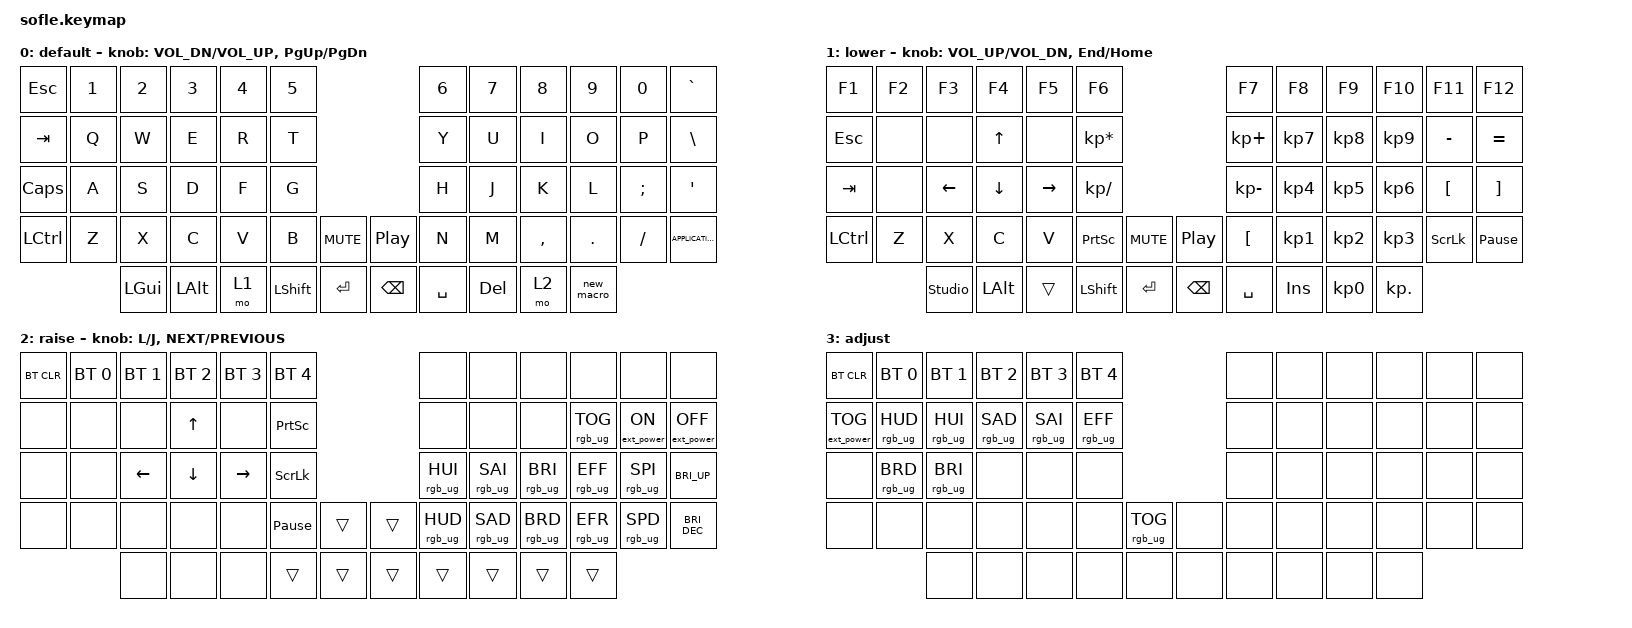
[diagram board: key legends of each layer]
/*
 * Copyright (c) 2020 The ZMK Contributors
 *
 * SPDX-License-Identifier: MIT
 */

#include <behaviors.dtsi>
#include <dt-bindings/zmk/bt.h>
#include <dt-bindings/zmk/ext_power.h>
#include <dt-bindings/zmk/keys.h>
#include <dt-bindings/zmk/rgb.h>

#define BASE 0
#define LOWER 1
#define RAISE 2
#define ADJUST 3

/ {
    // Activate ADJUST layer by pressing raise and lower

    conditional_layers {
        compatible = "zmk,conditional-layers";

        adjust_layer {
            if-layers = <LOWER RAISE>;
            then-layer = <ADJUST>;
        };
    };

    macros {
        new_macro: new_macro {
            compatible = "zmk,behavior-macro";
            #binding-cells = <0>;
            bindings = <&none &kp N1 &kp N9 &kp N9 &kp N5 &kp LS(T) &kp I &kp E &kp N &kp LS(V) &kp A &kp N &kp G &kp GT &kp GT &kp LT &kp LT>;
            label = "NEW_MACRO";
        };
    };

    keymap {
        compatible = "zmk,keymap";

        default_layer {
            display-name = "default";

            // ------------------------------------------------------------------------------------------------------------
            // |   `   |  1  |  2  |  3   |  4   |  5   |                   |  6   |  7    |  8    |  9   |   0   |       |
            // |  ESC  |  Q  |  W  |  E   |  R   |  T   |                   |  Y   |  U    |  I    |  O   |   P   | BKSPC |
            // |  TAB  |  A  |  S  |  D   |  F   |  G   |                   |  H   |  J    |  K    |  L   |   ;   |   '   |
            // | SHIFT |  Z  |  X  |  C   |  V   |  B   |  MUTE  |  |       |  N   |  M    |  ,    |  .   |   /   | SHIFT |
            //               | GUI | ALT  | CTRL | LOWER|  ENTER |  | SPACE | RAISE| CTRL  | ALT   | GUI  |

            bindings = <
&kp ESCAPE  &kp N1  &kp N2    &kp N3    &kp N4  &kp N5                                          &kp N6     &kp N7   &kp N8     &kp N9      &kp N0    &kp GRAVE
&kp TAB     &kp Q   &kp W     &kp E     &kp R   &kp T                                           &kp Y      &kp U    &kp I      &kp O       &kp P     &kp BSLH
&kp CLCK    &kp A   &kp S     &kp D     &kp F   &kp G                                           &kp H      &kp J    &kp K      &kp L       &kp SEMI  &kp SQT
&kp LCTRL   &kp Z   &kp X     &kp C     &kp V   &kp B           &kp C_MUTE    &kp C_PLAY_PAUSE  &kp N      &kp M    &kp COMMA  &kp DOT     &kp FSLH  &kp K_APPLICATION
                    &kp LGUI  &kp LALT  &mo 1   &kp LEFT_SHIFT  &kp RET       &kp BACKSPACE     &kp SPACE  &kp DEL  &mo 2      &new_macro
            >;

            sensor-bindings =
                <&inc_dec_kp C_VOL_DN C_VOL_UP>,
                <&inc_dec_kp PG_UP PG_DN>;
        };

        lower_layer {
            display-name = "lower";

            // TODO: Some binds are waiting for shifted keycode support.
            // ------------------------------------------------------------------------------------------------------------
            // |       |  F1 |  F2 |  F3  |  F4  |  F5  |                   |  F6  |  F7   |  F8   |  F9  |  F10  |  F11  |
            // |   `   |  1  |  2  |  3   |  4   |  5   |                   |  6   |  7    |  8    |  9   |   0   |  F12  |
            // |       |  !  |  @  |  #   |  $   |  %   |                   |  ^   |  &    |  *    |  (   |   )   |   |   |
            // |       |  =  |  -  |  +   |  {   |  }   |        |  |       |  [   |  ]    |  ;    |  :   |   \   |       |
            //               |     |      |      |      |        |  |       |      |       |       |      |

            bindings = <
&kp F1      &kp F2  &kp F3          &kp F4          &kp F5     &kp F6                                           &kp F7        &kp F8           &kp F9     &kp F10     &kp F11           &kp F12
&kp ESCAPE  &none   &none           &kp UP_ARROW    &none      &kp KP_ASTERISK                                  &kp KP_PLUS   &kp KP_NUMBER_7  &kp KP_N8  &kp KP_N9   &kp MINUS         &kp EQUAL
&kp TAB     &none   &kp LEFT        &kp DOWN_ARROW  &kp RIGHT  &kp KP_DIVIDE                                    &kp KP_MINUS  &kp KP_N4        &kp KP_N5  &kp KP_N6   &kp LEFT_BRACKET  &kp RIGHT_BRACKET
&kp LCTRL   &kp Z   &kp X           &kp C           &kp V      &kp PRINTSCREEN  &kp C_MUTE    &kp C_PLAY_PAUSE  &kp LBKT      &kp KP_N1        &kp KP_N2  &kp KP_N3   &kp SCROLLLOCK    &kp PAUSE_BREAK
                    &studio_unlock  &kp LEFT_ALT    &trans     &kp LEFT_SHIFT   &kp ENTER     &kp BACKSPACE     &kp SPACE     &kp INS          &kp KP_N0  &kp KP_DOT
            >;

            sensor-bindings =
                <&inc_dec_kp C_VOL_UP C_VOL_DN>,
                <&inc_dec_kp END HOME>;
        };

        raise_layer {
            display-name = "raise";

            // ------------------------------------------------------------------------------------------------------------
            // | BTCLR | BT1  | BT2  |  BT3  |  BT4  |  BT5 |                |      |      |       |      |       |       |
            // |       | INS  | PSCR | GUI   |       |      |                | PGUP |      |   ^   |      |       |       |
            // |       | ALT  | CTRL | SHIFT |       | CAPS |                | PGDN |   <- |   v   |  ->  |  DEL  | BKSPC |
            // |       | UNDO | CUT  | COPY  | PASTE |      |      |  |      |      |      |       |      |       |       |
            //                |      |       |       |      |      |  |      |      |      |       |      |

            bindings = <
&bt BT_CLR  &bt BT_SEL 0  &bt BT_SEL 1  &bt BT_SEL 2    &bt BT_SEL 3  &bt BT_SEL 4                       &none            &none            &none            &none            &none             &none
&none       &none         &none         &kp UP_ARROW    &none         &kp PRINTSCREEN                    &none            &none            &none            &rgb_ug RGB_TOG  &ext_power EP_ON  &ext_power EP_OFF
&none       &none         &kp LEFT      &kp DOWN_ARROW  &kp RIGHT     &kp SCROLLLOCK                     &rgb_ug RGB_HUI  &rgb_ug RGB_SAI  &rgb_ug RGB_BRI  &rgb_ug RGB_EFF  &rgb_ug RGB_SPI   &kp C_BRI_UP
&none       &none         &none         &none           &none         &kp PAUSE_BREAK  &trans    &trans  &rgb_ug RGB_HUD  &rgb_ug RGB_SAD  &rgb_ug RGB_BRD  &rgb_ug RGB_EFR  &rgb_ug RGB_SPD   &kp C_BRIGHTNESS_DEC
                          &none         &none           &none         &trans           &trans    &trans  &trans           &trans           &trans           &trans
            >;

            sensor-bindings =
                <&inc_dec_kp L J>,
                <&inc_dec_kp C_NEXT C_PREVIOUS>;
        };

        adjust_layer {
            // ----------------------------------------------------------------------------------------------------------------------------
            // | BTCLR  |  BT1    |  BT2    |   BT3   |   BT4   |   BT5   |                  |      |      |       |      |       |       |
            // | EXTPWR | RGB_HUD | RGB_HUI | RGB_SAD | RGB_SAI | RGB_EFF |                  |      |      |       |      |       |       |
            // |        | RGB_BRD | RGB_BRI |         |         |         |                  |      |      |       |      |       |       |
            // |        |         |         |         |         |         | RGB_TOG | |      |      |      |       |      |       |       |
            //                    |         |         |         |         |         | |      |      |      |       |      |

            display-name = "adjust";
            bindings = <
&bt BT_CLR         &bt BT_SEL 0     &bt BT_SEL 1     &bt BT_SEL 2     &bt BT_SEL 3     &bt BT_SEL 4                               &none  &none  &none  &none  &none  &none
&ext_power EP_TOG  &rgb_ug RGB_HUD  &rgb_ug RGB_HUI  &rgb_ug RGB_SAD  &rgb_ug RGB_SAI  &rgb_ug RGB_EFF                            &none  &none  &none  &none  &none  &none
&none              &rgb_ug RGB_BRD  &rgb_ug RGB_BRI  &none            &none            &none                                      &none  &none  &none  &none  &none  &none
&none              &none            &none            &none            &none            &none            &rgb_ug RGB_TOG    &none  &none  &none  &none  &none  &none  &none
                                    &none            &none            &none            &none            &none              &none  &none  &none  &none  &none
            >;
        };
    };
};
